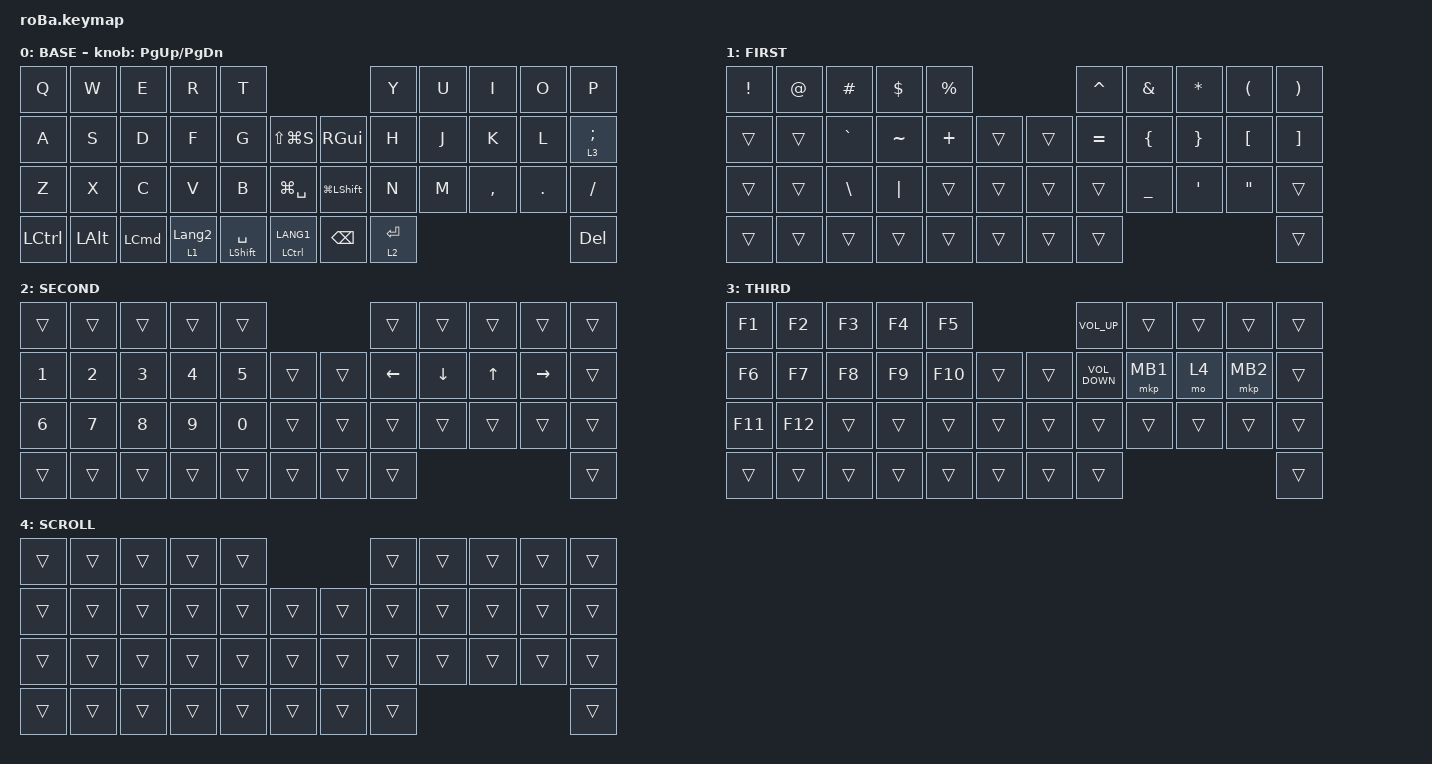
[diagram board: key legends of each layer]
#include <behaviors.dtsi>
#include <dt-bindings/zmk/keys.h>
#include <dt-bindings/zmk/pointing.h>

&mt {
    flavor = "balanced";
    quick-tap-ms = <0>;
};

&trackball {
    scroll-layers = <4>;

    // arrows {
    //     layers = <3>;
    //     bindings =
    //         <&kp RIGHT_ARROW>,
    //         <&kp LEFT_ARROW>,
    //         <&kp UP_ARROW>,
    //         <&kp DOWN_ARROW>;
    //     tick = <10>;
    //     wait-ms = <5>;
    //     tap-ms = <5>;
    // };
};

/ {
    combos {
        compatible = "zmk,combos";

        tab {
            bindings = <&kp TAB>;
            key-positions = <11 12>;
        };

        escape {
            bindings = <&kp LS(ESCAPE)>;
            key-positions = <2 1>;
        };

        eisu {
            bindings = <&to_layer_0 LANG2>;
            key-positions = <13 12>;
        };

        minus {
            bindings = <&kp MINUS>;
            key-positions = <20 19>;
        };

        kana {
            bindings = <&to_layer_0 LANG1>;
            key-positions = <18 19>;
        };
    };

    macros {
        to_layer_0: to_layer_0 {
            compatible = "zmk,behavior-macro-one-param";
            #binding-cells = <1>;
            bindings = <&to 0 &macro_param_1to1 &kp MACRO_PLACEHOLDER>;
            label = "TO_LAYER_0";
        };
    };

    behaviors {
        lt_to_layer_0: lt_to_layer_0 {
            compatible = "zmk,behavior-hold-tap";
            label = "LAYER_TAP_TO_0";
            bindings = <&mo>, <&to_layer_0>;

            #binding-cells = <2>;
            tapping-term-ms = <200>;
        };
    };

    keymap {
        compatible = "zmk,keymap";

        BASE {
            bindings = <
&kp Q      &kp W         &kp E             &kp R                        &kp T                                                          &kp Y        &kp U  &kp I      &kp O    &kp P
&kp A      &kp S         &kp D             &kp F                        &kp G                 &kp LS(LG(S))        &kp RIGHT_GUI       &kp H        &kp J  &kp K      &kp L    &lt 3 SEMICOLON
&kp Z      &kp X         &kp C             &kp V                        &kp B                 &kp LG(SPACE)        &kp LG(LEFT_SHIFT)  &kp N        &kp M  &kp COMMA  &kp DOT  &kp SLASH
&kp LCTRL  &kp LEFT_ALT  &kp LEFT_COMMAND  &lt_to_layer_0 1 LANGUAGE_2  &mt LEFT_SHIFT SPACE  &mt LCTRL LANG1      &kp BACKSPACE       &lt 2 ENTER                             &kp DEL
            >;

            sensor-bindings = <&inc_dec_kp PG_UP PAGE_DOWN>;
        };

        FIRST {
            bindings = <
&kp EXCLAMATION  &kp AT_SIGN  &kp HASH       &kp DOLLAR  &kp PERCENT                      &kp CARET  &kp AMPERSAND   &kp ASTERISK      &kp LEFT_PARENTHESIS  &kp RIGHT_PARENTHESIS
&trans           &trans       &kp GRAVE      &kp TILDE   &kp PLUS     &trans      &trans  &kp EQUAL  &kp LEFT_BRACE  &kp RIGHT_BRACE   &kp LEFT_BRACKET      &kp RIGHT_BRACKET
&trans           &trans       &kp BACKSLASH  &kp PIPE    &trans       &trans      &trans  &trans     &kp UNDERSCORE  &kp SINGLE_QUOTE  &kp DOUBLE_QUOTES     &trans
&trans           &trans       &trans         &trans      &trans       &trans      &trans  &trans                                                             &trans
            >;
        };

        SECOND {
            bindings = <
&trans        &trans        &trans        &trans        &trans                            &trans    &trans    &trans  &trans     &trans
&kp NUMBER_1  &kp NUMBER_2  &kp NUMBER_3  &kp NUMBER_4  &kp NUMBER_5  &trans      &trans  &kp LEFT  &kp DOWN  &kp UP  &kp RIGHT  &trans
&kp NUMBER_6  &kp NUMBER_7  &kp NUMBER_8  &kp NUMBER_9  &kp NUMBER_0  &trans      &trans  &trans    &trans    &trans  &trans     &trans
&trans        &trans        &trans        &trans        &trans        &trans      &trans  &trans                                 &trans
            >;
        };

        THIRD {
            bindings = <
&kp F1   &kp F2   &kp F3  &kp F4  &kp F5                       &kp C_VOLUME_UP    &trans    &trans  &trans    &trans
&kp F6   &kp F7   &kp F8  &kp F9  &kp F10  &trans      &trans  &kp C_VOLUME_DOWN  &mkp MB1  &mo 4   &mkp MB2  &trans
&kp F11  &kp F12  &trans  &trans  &trans   &trans      &trans  &trans             &trans    &trans  &trans    &trans
&trans   &trans   &trans  &trans  &trans   &trans      &trans  &trans                                         &trans
            >;
        };

        SCROLL {
            bindings = <
&trans  &trans  &trans  &trans  &trans                      &trans  &trans  &trans  &trans  &trans
&trans  &trans  &trans  &trans  &trans  &trans      &trans  &trans  &trans  &trans  &trans  &trans
&trans  &trans  &trans  &trans  &trans  &trans      &trans  &trans  &trans  &trans  &trans  &trans
&trans  &trans  &trans  &trans  &trans  &trans      &trans  &trans                          &trans
            >;
        };
    };
};
